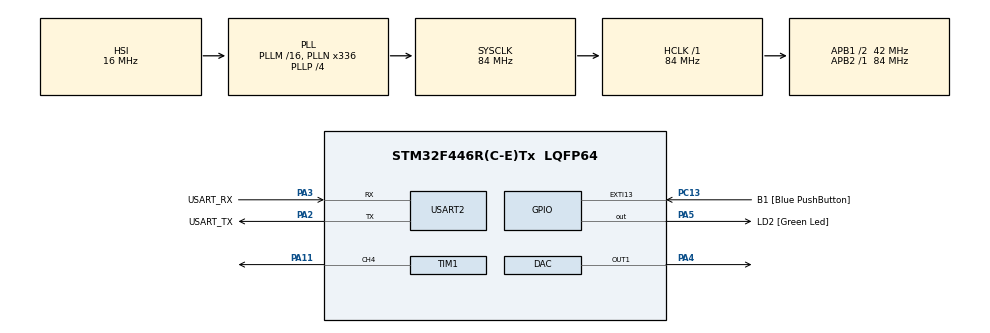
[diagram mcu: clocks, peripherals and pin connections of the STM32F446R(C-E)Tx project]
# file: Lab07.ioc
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DAC.DAC_Trigger=DAC_TRIGGER_T6_TRGO
Dma.DAC1.0.Direction=DMA_MEMORY_TO_PERIPH
Dma.DAC1.0.FIFOMode=DMA_FIFOMODE_DISABLE
Dma.DAC1.0.Instance=DMA1_Stream5
Dma.DAC1.0.MemDataAlignment=DMA_MDATAALIGN_WORD
Dma.DAC1.0.MemInc=DMA_MINC_ENABLE
Dma.DAC1.0.Mode=DMA_CIRCULAR
Dma.DAC1.0.PeriphDataAlignment=DMA_PDATAALIGN_WORD
Dma.DAC1.0.PeriphInc=DMA_PINC_DISABLE
Dma.DAC1.0.Priority=DMA_PRIORITY_LOW
Dma.Request0=DAC1
Mcu.Family=STM32F4
Mcu.Name=STM32F446R(C-E)Tx
Mcu.Package=LQFP64
NVIC.DMA1_Stream5_IRQn=true\:0\:0\:false\:false\:true\:false\:true\:true
NVIC.PriorityGroup=NVIC_PRIORITYGROUP_0
NVIC.USART2_IRQn=true\:0\:0\:false\:false\:true\:true\:true\:true
PA11.Signal=S_TIM1_CH4
PA13.GPIO_Label=TMS
PA13.Mode=Serial_Wire
PA13.Signal=SYS_JTMS-SWDIO
PA14.GPIO_Label=TCK
PA14.Mode=Serial_Wire
PA14.Signal=SYS_JTCK-SWCLK
PA2.GPIO_Label=USART_TX
PA2.Mode=Asynchronous
PA2.Signal=USART2_TX
PA3.GPIO_Label=USART_RX
PA3.Mode=Asynchronous
PA3.Signal=USART2_RX
PA4.Signal=COMP_DAC1_group
PA5.GPIO_Label=LD2 [Green Led]
PA5.Signal=GPIO_Output
PB3.GPIO_Label=SWO
PB3.Signal=SYS_JTDO-SWO
PC13.GPIO_Label=B1 [Blue PushButton]
PC13.GPIO_ModeDefaultEXTI=GPIO_MODE_IT_FALLING
PC13.Signal=GPXTI13
PC14-OSC32_IN.Mode=LSE-External-Oscillator
PC14-OSC32_IN.Signal=RCC_OSC32_IN
PC15-OSC32_OUT.Mode=LSE-External-Oscillator
PC15-OSC32_OUT.Signal=RCC_OSC32_OUT
PH0-OSC_IN.Mode=HSE-External-Oscillator
PH0-OSC_IN.Signal=RCC_OSC_IN
PH1-OSC_OUT.Mode=HSE-External-Oscillator
PH1-OSC_OUT.Signal=RCC_OSC_OUT
ProjectManager.HeapSize=0x200
ProjectManager.StackSize=0x400
ProjectManager.TargetToolchain=STM32CubeIDE
RCC.48MHZClocksFreq_Value=84000000
RCC.AHBFreq_Value=84000000
RCC.APB1CLKDivider=RCC_HCLK_DIV2
RCC.APB1Freq_Value=42000000
RCC.APB1TimFreq_Value=84000000
RCC.APB2Freq_Value=84000000
RCC.APB2TimFreq_Value=84000000
RCC.CortexFreq_Value=84000000
RCC.FLatency-AdvancedSettings=FLASH_LATENCY_2
RCC.HCLKFreq_Value=84000000
RCC.HSE_VALUE=8000000
RCC.HSI_VALUE=16000000
RCC.PLLN=336
RCC.PLLP=RCC_PLLP_DIV4
RCC.SYSCLKFreq_VALUE=84000000
RCC.SYSCLKSource=RCC_SYSCLKSOURCE_PLLCLK
RCC.USBFreq_Value=168000000
RCC.VCOOutputFreq_Value=336000000
SH.COMP_DAC1_group.0=DAC_OUT1,DAC_OUT1
SH.S_TIM1_CH4.0=TIM1_CH4,PWM Generation4 CH4
TIM1.Channel-PWM\ Generation4\ CH4=TIM_CHANNEL_4
TIM1.Period=100-1
TIM1.Pulse-PWM\ Generation4\ CH4=50
TIM6.Period=1000-1
TIM6.Prescaler=1
TIM6.TIM_MasterOutputTrigger=TIM_TRGO_UPDATE
USART2.VirtualMode=VM_ASYNC
VP_TIM6_VS_ClockSourceINT.Mode=Enable_Timer
board=NUCLEO-F446RE

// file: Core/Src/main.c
/* USER CODE BEGIN Header */
/**
  ******************************************************************************
  * @file           : main.c
  * @brief          : Main program body
  ******************************************************************************
  * @attention
  *
  * Copyright (c) 2026 STMicroelectronics.
  * All rights reserved.
  *
  * This software is licensed under terms that can be found in the LICENSE file
  * in the root directory of this software component.
  * If no LICENSE file comes with this software, it is provided AS-IS.
  * Angie Recinos 23294
  * Lab07
  ******************************************************************************
  */
/* USER CODE END Header */
#include "main.h"

/* USER CODE BEGIN Includes */
#include "pitches.h"
#include "math.h"
#include <stdio.h>
/* USER CODE END Includes */

/* USER CODE BEGIN PTD */
#define TIM_FREQ 84000000
#define TIM_PSC 1
#define arr 100

/* USER CODE END PTD */

DAC_HandleTypeDef hdac;
DMA_HandleTypeDef hdma_dac1;

TIM_HandleTypeDef htim1;
TIM_HandleTypeDef htim6;

UART_HandleTypeDef huart2;

/* USER CODE BEGIN PV */
uint8_t rx_char;
uint8_t new_action = 0;
// PWM
int notes[] = {};
int durations[] ={};

// DAC
float voltaje = 1.3;
uint32_t var;
uint32_t DAC_OUT[4] = {0, 1241, 2482, 3723};
uint8_t i = 0;
#define Nsize 128
uint32_t Ysine[Nsize];
#define PI 3.1415926

int Mario[] = {NOTE_E7, NOTE_E7, 0, NOTE_E7, 0, NOTE_C7, NOTE_E7, 0, NOTE_G7, 0, 0, 0,
	    NOTE_G6, 0, 0, 0, NOTE_C7, 0, 0, NOTE_G6, 0, 0, NOTE_E6, 0, 0, NOTE_A6, 0, NOTE_B6,
	    0, NOTE_AS6, NOTE_A6, 0, NOTE_G6, NOTE_E7, NOTE_G7, NOTE_A7, 0, NOTE_F7, NOTE_G7,
	    0, NOTE_E7, 0, NOTE_C7, NOTE_D7, NOTE_B6, 0};
int MarioDurations[] = {150,150,150,150,150,150,150,150,300,150,150,150,300,150,150,150,
	    150,150,150,150,150,150,150,150,150,150,150,150,150,150,150,150,150,150,150,
	    150,150,150,150,150,150,150,150,150,300,150};

int GravityFalls[] = {
		659, 494, 523, 587, 523, 494,
		    440, 440, 523, 659, 587, 523,
		    494, 494, 523, 587, 659,
		    523, 440, 440,

		    587, 698, 880, 784, 698,
		    659, 523, 659, 587, 523,
		    494, 523, 587, 659,
		    523, 440, 440
};

int GravityDurations[] = {
		200,100,100,200,100,100,
		    200,100,100,200,100,100,
		    200,100,100,200,200,
		    200,200,400,

		    200,100,200,100,200,
		    200,100,200,100,200,
		    100,100,200,200,
		    200,200,400
};
/* USER CODE END PV */

void SystemClock_Config(void);
static void MX_GPIO_Init(void);
static void MX_DMA_Init(void);
static void MX_TIM1_Init(void);
static void MX_USART2_UART_Init(void);
static void MX_DAC_Init(void);
static void MX_TIM6_Init(void);
/* USER CODE BEGIN PFP */
int pressForFrequency(int frequency);
void playTone(int *tone, int *duration, int *pause, int size);
void playToneDAC(int *tone, int *duration, int *pause, int size);
void playTonePRE(int *tone, int *duration, int *pause, int size);
void noTone(void);
void noToneDAC(void);
void sendMenu(void);
void generarSin(void);
int calcularARR(int freq);

/* USER CODE END PFP */

/* USER CODE BEGIN 0 */
void generarSin(void){
	for (int x = 0; x < Nsize; x++){
		Ysine[x] = ((sin(x*2*PI/Nsize)+1)*(4096/2));
	}
}
int calcularARR(int freq){
	if(freq == 0)
		return 0;
	int TF = Nsize * freq;
	return ((TIM_FREQ/((TIM_PSC + 1)*TF))-1);
}
int pressForFrequency(int frequency)
{
	if (frequency == 0)
	{
		return 0;
	}
	return ((TIM_FREQ / (arr * frequency)) -1 );
}

void playTone(int *tone, int *duration, int *pause, int size)
{
	for (int i = 0; i < size; i++)
	{
		int prescaler = pressForFrequency(tone[i]); // Calcular el prescaler
		int dur = duration[i]; // Obtener la duración
		int pauseBetweenTones = 0;
		if (pause != NULL)
		{
			pauseBetweenTones = pause[i] - duration[i];
		}

		__HAL_TIM_SET_PRESCALER(&htim1, prescaler);
		HAL_Delay(dur); // Duración de la nota
		noTone(); // Pausa
		HAL_Delay(pauseBetweenTones); // Duración sin tono
	}
}
void playToneDAC(int *tone, int *duration, int *pause, int size){
	for (int i = 0; i < size; i++)
		{
			int valorARR = calcularARR(tone[i]); // Calcular el ARR
			int dur = duration[i]; // Obtener la duración
			int pauseBetweenTones = 0;
			if (pause != NULL)
			{
				pauseBetweenTones = pause[i] - duration[i];
			}

		TIM6->ARR = valorARR;
		HAL_Delay(dur);
		noToneDAC();
		HAL_Delay(pauseBetweenTones);
		}
}
void playTonePRE(int *tone, int *duration, int *pause, int size)
{
	for (int i = 0; i < size; i++)
	{
		int prescaler = (tone[i]); // Calcular el prescaler
		int dur = duration[i]; // Obtener la duración
		int pauseBetweenTones = 0;
		if (pause != NULL)
		{
			pauseBetweenTones = pause[i] - duration[i];
		}

		__HAL_TIM_SET_PRESCALER(&htim1, prescaler);
		HAL_Delay(dur); // Duración de la nota
		noTone(); // Pausa
		HAL_Delay(pauseBetweenTones); // Duración sin tono
	}
}

void noTone (void)
{
	__HAL_TIM_SET_PRESCALER(&htim1, 0); // Prescaler 0
}
void noToneDAC (void)
{
	TIM6->ARR = 0;
}
void sendMenu(void)
{
    char menu[] = "\r\n--- MENU ---\r\n"
                  "1. Mario Bros\r\n"
                  "2. Tetris\r\n"
                  "Seleccione opcion:\r\n";

    HAL_UART_Transmit(&huart2, (uint8_t*)menu, sizeof(menu)-1, 100);
}

/* USER CODE END 0 */

int main(void)
{

  /* MCU Configuration--------------------------------------------------------*/

  /* Reset of all peripherals, Initializes the Flash interface and the Systick. */
  HAL_Init();

  /* Configure the system clock */
  SystemClock_Config();

  /* Initialize all configured peripherals */
  MX_GPIO_Init();
  MX_DMA_Init();
  MX_TIM1_Init();
  MX_USART2_UART_Init();
  MX_DAC_Init();
  MX_TIM6_Init();
  /* USER CODE BEGIN 2 */
  	  generarSin();
  	  // Inicializar el DAC
  	  HAL_DAC_Init(&hdac);
  	  // Inidicar DAC seleccionando canal
  	  HAL_TIM_Base_Start(&htim6);

  	  HAL_DAC_Start_DMA(&hdac, DAC_CHANNEL_1, Ysine, Nsize, DAC_ALIGN_12B_R);
  	  HAL_UART_Receive_IT(&huart2, &rx_char, 1);
  	  sendMenu();
  	  // PWM
  	  //HAL_TIM_PWM_Start(&htim1, TIM_CHANNEL_1);
  	  //__HAL_TIM_SET_COMPARE(&htim1, TIM_CHANNEL_1, 2000);

  /* USER CODE END 2 */

  /* Infinite loop */
  /* USER CODE BEGIN WHILE */
  	HAL_TIM_PWM_Start(&htim1, TIM_CHANNEL_4);
  	//playTone(STmelody, STnoteDurations, NULL, (sizeof(STmelody)/sizeof(STmelody[0])));
  	//noTone();
  while (1)
  {
	  // Voltaje específico
	  /*voltaje = 2.00;
	  var = voltaje*(4096)/3.3;
	  HAL_DAC_SetValue(&hdac, DAC_CHANNEL_1, DAC_ALIGN_12B_R, var);*/

	  // Diente de sierra
	  /*for(uint16_t var = 0; var < 4095; var++){
		  HAL_DAC_SetValue(&hdac, DAC_CHANNEL_1, DAC_ALIGN_12B_R, DAC_OUT[i]);
		  HAL_Delay(1);
	  }*/
	  // Generar valores guardados
	  /*HAL_DAC_SetValue(&hdac, DAC_CHANNEL_1, DAC_ALIGN_12B_R, var);
	  i++;
	  if(i == 4){
		  i = 0;
	  }*/
	  HAL_Delay(50);

    /* USER CODE END WHILE */

    /* USER CODE BEGIN 3 */
	  if(new_action){
		  new_action = 0;
		  if(rx_char == '1'){

			  char msg[] = "Reproduciendo Mario...\r\n";
			  HAL_UART_Transmit(&huart2, (uint8_t*)msg, sizeof(msg)-1, 100);

			  playTone(Mario, MarioDurations, NULL, (sizeof(Mario)/sizeof(Mario[0])));
			  noTone();
		  }
		  else if(rx_char == '2'){
			  char msg[] = "Reproduciendo Tetris...\r\n";
			  HAL_UART_Transmit(&huart2, (uint8_t*)msg, sizeof(msg)-1, 100);
			  playToneDAC(GravityFalls, GravityDurations, NULL, (sizeof(GravityFalls)/sizeof(GravityFalls[0])));
		  }
		  sendMenu();
	  }

  }
  /* USER CODE END 3 */
}

void SystemClock_Config(void)
{
  RCC_OscInitTypeDef RCC_OscInitStruct = {0};
  RCC_ClkInitTypeDef RCC_ClkInitStruct = {0};

  /** Configure the main internal regulator output voltage
  */
  __HAL_RCC_PWR_CLK_ENABLE();
  __HAL_PWR_VOLTAGESCALING_CONFIG(PWR_REGULATOR_VOLTAGE_SCALE3);

  /** Initializes the RCC Oscillators according to the specified parameters
  * in the RCC_OscInitTypeDef structure.
  */
  RCC_OscInitStruct.OscillatorType = RCC_OSCILLATORTYPE_HSI;
  RCC_OscInitStruct.HSIState = RCC_HSI_ON;
  RCC_OscInitStruct.HSICalibrationValue = RCC_HSICALIBRATION_DEFAULT;
  RCC_OscInitStruct.PLL.PLLState = RCC_PLL_ON;
  RCC_OscInitStruct.PLL.PLLSource = RCC_PLLSOURCE_HSI;
  RCC_OscInitStruct.PLL.PLLM = 16;
  RCC_OscInitStruct.PLL.PLLN = 336;
  RCC_OscInitStruct.PLL.PLLP = RCC_PLLP_DIV4;
  RCC_OscInitStruct.PLL.PLLQ = 2;
  RCC_OscInitStruct.PLL.PLLR = 2;
  if (HAL_RCC_OscConfig(&RCC_OscInitStruct) != HAL_OK)
  {
    Error_Handler();
  }

  /** Initializes the CPU, AHB and APB buses clocks
  */
  RCC_ClkInitStruct.ClockType = RCC_CLOCKTYPE_HCLK|RCC_CLOCKTYPE_SYSCLK
                              |RCC_CLOCKTYPE_PCLK1|RCC_CLOCKTYPE_PCLK2;
  RCC_ClkInitStruct.SYSCLKSource = RCC_SYSCLKSOURCE_PLLCLK;
  RCC_ClkInitStruct.AHBCLKDivider = RCC_SYSCLK_DIV1;
  RCC_ClkInitStruct.APB1CLKDivider = RCC_HCLK_DIV2;
  RCC_ClkInitStruct.APB2CLKDivider = RCC_HCLK_DIV1;

  if (HAL_RCC_ClockConfig(&RCC_ClkInitStruct, FLASH_LATENCY_2) != HAL_OK)
  {
    Error_Handler();
  }
}

static void MX_DAC_Init(void)
{

  DAC_ChannelConfTypeDef sConfig = {0};

  /** DAC Initialization
  */
  hdac.Instance = DAC;
  if (HAL_DAC_Init(&hdac) != HAL_OK)
  {
    Error_Handler();
  }

  /** DAC channel OUT1 config
  */
  sConfig.DAC_Trigger = DAC_TRIGGER_T6_TRGO;
  sConfig.DAC_OutputBuffer = DAC_OUTPUTBUFFER_ENABLE;
  if (HAL_DAC_ConfigChannel(&hdac, &sConfig, DAC_CHANNEL_1) != HAL_OK)
  {
    Error_Handler();
  }

}

static void MX_TIM1_Init(void)
{

  TIM_MasterConfigTypeDef sMasterConfig = {0};
  TIM_OC_InitTypeDef sConfigOC = {0};
  TIM_BreakDeadTimeConfigTypeDef sBreakDeadTimeConfig = {0};

  htim1.Instance = TIM1;
  htim1.Init.Prescaler = 0;
  htim1.Init.CounterMode = TIM_COUNTERMODE_UP;
  htim1.Init.Period = 100-1;
  htim1.Init.ClockDivision = TIM_CLOCKDIVISION_DIV1;
  htim1.Init.RepetitionCounter = 0;
  htim1.Init.AutoReloadPreload = TIM_AUTORELOAD_PRELOAD_DISABLE;
  if (HAL_TIM_PWM_Init(&htim1) != HAL_OK)
  {
    Error_Handler();
  }
  sMasterConfig.MasterOutputTrigger = TIM_TRGO_RESET;
  sMasterConfig.MasterSlaveMode = TIM_MASTERSLAVEMODE_DISABLE;
  if (HAL_TIMEx_MasterConfigSynchronization(&htim1, &sMasterConfig) != HAL_OK)
  {
    Error_Handler();
  }
  sConfigOC.OCMode = TIM_OCMODE_PWM1;
  sConfigOC.Pulse = 50;
  sConfigOC.OCPolarity = TIM_OCPOLARITY_HIGH;
  sConfigOC.OCFastMode = TIM_OCFAST_DISABLE;
  sConfigOC.OCIdleState = TIM_OCIDLESTATE_RESET;
  sConfigOC.OCNIdleState = TIM_OCNIDLESTATE_RESET;
  if (HAL_TIM_PWM_ConfigChannel(&htim1, &sConfigOC, TIM_CHANNEL_4) != HAL_OK)
  {
    Error_Handler();
  }
  sBreakDeadTimeConfig.OffStateRunMode = TIM_OSSR_DISABLE;
  sBreakDeadTimeConfig.OffStateIDLEMode = TIM_OSSI_DISABLE;
  sBreakDeadTimeConfig.LockLevel = TIM_LOCKLEVEL_OFF;
  sBreakDeadTimeConfig.DeadTime = 0;
  sBreakDeadTimeConfig.BreakState = TIM_BREAK_DISABLE;
  sBreakDeadTimeConfig.BreakPolarity = TIM_BREAKPOLARITY_HIGH;
  sBreakDeadTimeConfig.AutomaticOutput = TIM_AUTOMATICOUTPUT_DISABLE;
  if (HAL_TIMEx_ConfigBreakDeadTime(&htim1, &sBreakDeadTimeConfig) != HAL_OK)
  {
    Error_Handler();
  }
  HAL_TIM_MspPostInit(&htim1);

}

static void MX_TIM6_Init(void)
{

  TIM_MasterConfigTypeDef sMasterConfig = {0};

  htim6.Instance = TIM6;
  htim6.Init.Prescaler = 1;
  htim6.Init.CounterMode = TIM_COUNTERMODE_UP;
  htim6.Init.Period = 1000-1;
  htim6.Init.AutoReloadPreload = TIM_AUTORELOAD_PRELOAD_DISABLE;
  if (HAL_TIM_Base_Init(&htim6) != HAL_OK)
  {
    Error_Handler();
  }
  sMasterConfig.MasterOutputTrigger = TIM_TRGO_UPDATE;
  sMasterConfig.MasterSlaveMode = TIM_MASTERSLAVEMODE_DISABLE;
  if (HAL_TIMEx_MasterConfigSynchronization(&htim6, &sMasterConfig) != HAL_OK)
  {
    Error_Handler();
  }

}

static void MX_USART2_UART_Init(void)
{

  huart2.Instance = USART2;
  huart2.Init.BaudRate = 115200;
  huart2.Init.WordLength = UART_WORDLENGTH_8B;
  huart2.Init.StopBits = UART_STOPBITS_1;
  huart2.Init.Parity = UART_PARITY_NONE;
  huart2.Init.Mode = UART_MODE_TX_RX;
  huart2.Init.HwFlowCtl = UART_HWCONTROL_NONE;
  huart2.Init.OverSampling = UART_OVERSAMPLING_16;
  if (HAL_UART_Init(&huart2) != HAL_OK)
  {
    Error_Handler();
  }

}

static void MX_DMA_Init(void)
{

  /* DMA controller clock enable */
  __HAL_RCC_DMA1_CLK_ENABLE();

  /* DMA interrupt init */
  /* DMA1_Stream5_IRQn interrupt configuration */
  HAL_NVIC_SetPriority(DMA1_Stream5_IRQn, 0, 0);
  HAL_NVIC_EnableIRQ(DMA1_Stream5_IRQn);

}

static void MX_GPIO_Init(void)
{
  GPIO_InitTypeDef GPIO_InitStruct = {0};

  /* GPIO Ports Clock Enable */
  __HAL_RCC_GPIOC_CLK_ENABLE();
  __HAL_RCC_GPIOH_CLK_ENABLE();
  __HAL_RCC_GPIOA_CLK_ENABLE();
  __HAL_RCC_GPIOB_CLK_ENABLE();

  /*Configure GPIO pin Output Level */
  HAL_GPIO_WritePin(LD2_GPIO_Port, LD2_Pin, GPIO_PIN_RESET);

  /*Configure GPIO pin : B1_Pin */
  GPIO_InitStruct.Pin = B1_Pin;
  GPIO_InitStruct.Mode = GPIO_MODE_IT_FALLING;
  GPIO_InitStruct.Pull = GPIO_NOPULL;
  HAL_GPIO_Init(B1_GPIO_Port, &GPIO_InitStruct);

  /*Configure GPIO pin : LD2_Pin */
  GPIO_InitStruct.Pin = LD2_Pin;
  GPIO_InitStruct.Mode = GPIO_MODE_OUTPUT_PP;
  GPIO_InitStruct.Pull = GPIO_NOPULL;
  GPIO_InitStruct.Speed = GPIO_SPEED_FREQ_LOW;
  HAL_GPIO_Init(LD2_GPIO_Port, &GPIO_InitStruct);

}

/* USER CODE BEGIN 4 */
void HAL_UART_RxCpltCallback(UART_HandleTypeDef *huart){

	if(huart->Instance == USART2)
	    {
	        // Reenviar byte a la compu
			//HAL_UART_Transmit(&huart2, (uint8_t*)"Control_2:", 10, 100);
			//HAL_UART_Transmit(&huart2, &rx_char, 1, 100);

			// Bandera de nueva accion por ingreso de datos
			new_action = 1;

	        // Reiniciar recepción para interrupción
	        HAL_UART_Receive_IT(&huart2, &rx_char, 1);
	    }

}
/* USER CODE END 4 */

void Error_Handler(void)
{
  __disable_irq();
  while (1)
  {
  }
}
